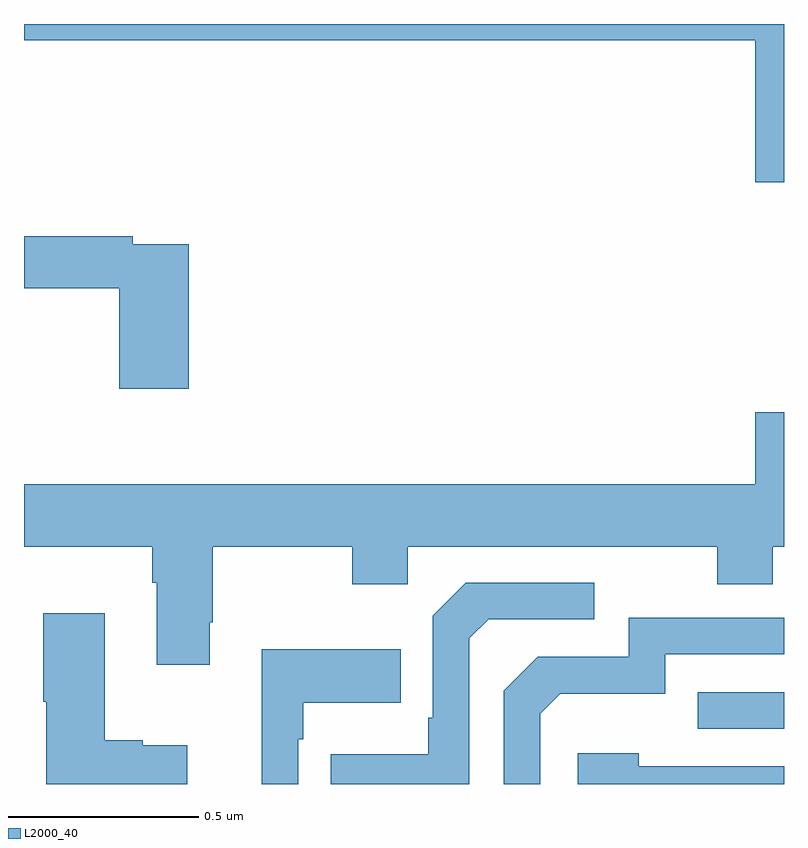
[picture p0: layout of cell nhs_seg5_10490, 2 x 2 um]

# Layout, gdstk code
import gdstk
lib = gdstk.Library(unit=1e-6, precision=1e-09)
def R(c, l, rs):  # rectangles x0, y0, x1, y1
    for r in rs: c.add(gdstk.rectangle(r[:2], r[2:], *l))
def P(c, l, *ps):  # polygons
    for p in ps: c.add(gdstk.Polygon(p, *l))
L2000_40 = (2000, 40)

nhs_seg5_10490 = lib.new_cell('nhs_seg5_10490')
R(nhs_seg5_10490, L2000_40, [(248.773,858.945,249,859.041)])
P(nhs_seg5_10490, L2000_40, [(249,860.799),(247,860.799),(247,860.756),(248.924,860.756),(248.924,860.382),(249,860.382)],
  [(247.433,860.22),(247.286,860.22),(247.286,860.24),(247,860.24),(247,860.104),(247.25,860.104),(247.25,859.839),(247.433,859.839)],
  [(247.489,859.225),(247.497,859.225),(247.497,859.424),(247.864,859.424),(247.864,859.325),(248.01,859.325),(248.01,859.424),(248.824,859.424),(248.824,859.325),(248.971,859.325),(248.971,859.424),(249,859.424),(249,859.777),(248.924,859.777),(248.924,859.588),(247,859.588),(247,859.424),(247.337,859.424),(247.337,859.328),(247.349,859.328),(247.349,859.113),(247.489,859.113)],
  [(248.172,859.182),(248.223,859.233),(248.5,859.233),(248.5,859.329),(248.163,859.329),(248.076,859.242),(248.076,858.973),(248.064,858.973),(248.064,858.877),(247.807,858.877),(247.807,858.799),(248.172,858.799)],
  [(247.429,858.901),(247.313,858.901),(247.313,858.914),(247.213,858.914),(247.213,859.249),(247.051,859.249),(247.051,859.015),(247.058,859.015),(247.058,858.799),(247.429,858.799)],
  [(248.358,858.984),(248.411,859.037),(248.688,859.037),(248.688,859.14),(249,859.14),(249,859.236),(248.592,859.236),(248.592,859.134),(248.352,859.134),(248.262,859.044),(248.262,858.799),(248.358,858.799)],
  [(247.722,858.917),(247.735,858.917),(247.735,859.013),(247.991,859.013),(247.991,859.153),(247.625,859.153),(247.625,858.799),(247.722,858.799)],
  [(249,858.846),(248.618,858.846),(248.618,858.88),(248.457,858.88),(248.457,858.799),(249,858.799)])

lib.write_gds('nhs_seg5_10490.gds')
